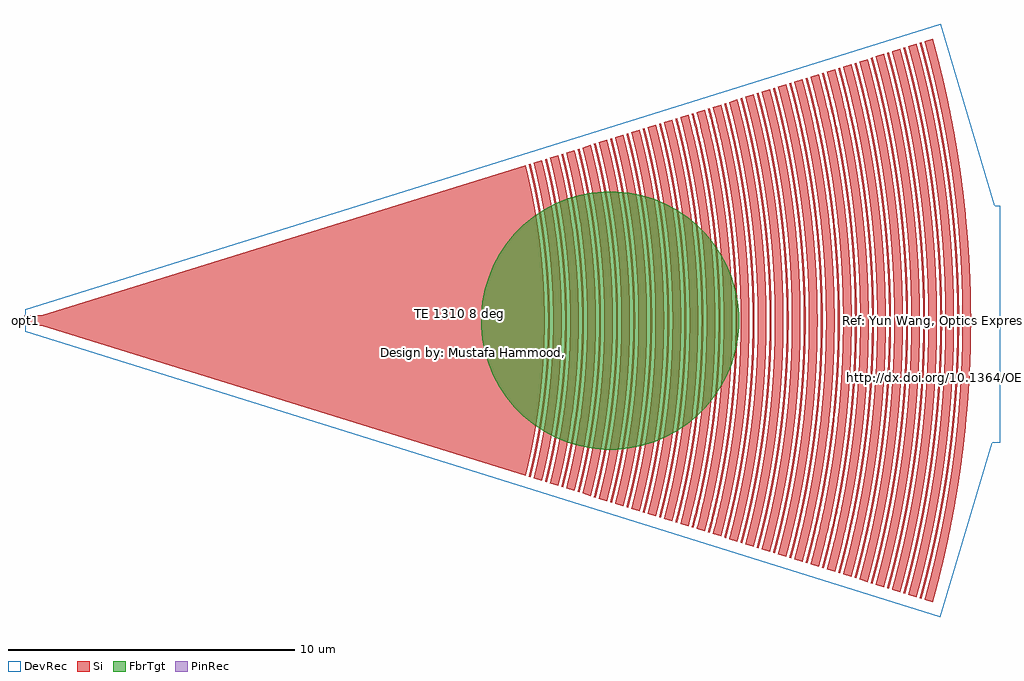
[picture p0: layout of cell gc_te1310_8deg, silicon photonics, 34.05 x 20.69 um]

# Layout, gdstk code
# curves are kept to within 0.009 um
import gdstk
lib = gdstk.Library(unit=1e-6, precision=1e-09)
def R(c, l, rs):  # rectangles x0, y0, x1, y1
    for r in rs: c.add(gdstk.rectangle(r[:2], r[2:], *l))
def P(c, l, *ps):  # polygons
    for p in ps: c.add(gdstk.Polygon(p, *l))
Si = (1, 0)
PinRec = (1, 10)
DevRec = (68, 0)
FbrTgt = (81, 0)

gc_te1310_8deg = lib.new_cell('gc_te1310_8deg')
P(gc_te1310_8deg, Si, [(85.448,-5.418),(68.562,-0.175),(68,-0.175),(68,0.175),(68.562,0.175),(85.448,5.418),(85.708,4.245),(85.832,3.544),(85.935,2.829),(86.01,2.162),(86.063,1.521),(86.099,0.84),(86.114,0.187),(86.108,-0.549),(86.08,-1.246),(86.033,-1.91),(85.954,-2.676),(85.845,-3.462),(85.711,-4.229)],
  [(85.619,-5.471),(85.561,-5.453),(85.562,-5.446),(85.729,-4.731),(85.868,-4.032),(86.006,-3.183),(86.085,-2.572),(86.147,-1.961),(86.189,-1.402),(86.218,-0.816),(86.232,-0.189),(86.228,0.465),(86.204,1.133),(86.159,1.819),(86.103,2.411),(86.01,3.156),(85.88,3.965),(85.729,4.731),(85.562,5.446),(85.561,5.453),(85.619,5.471),(85.785,4.76),(85.91,4.139),(86.027,3.455),(86.121,2.783),(86.194,2.116),(86.244,1.495),(86.277,0.866),(86.293,0.176),(86.287,-0.548),(86.26,-1.231),(86.211,-1.927),(86.139,-2.635),(86.029,-3.442),(85.92,-4.085),(85.785,-4.76)],
  [(86.016,-5.594),(85.732,-5.506),(85.877,-4.891),(86.02,-4.192),(86.128,-3.572),(86.23,-2.862),(86.31,-2.143),(86.363,-1.484),(86.395,-0.865),(86.411,-0.177),(86.405,0.552),(86.377,1.253),(86.32,2.034),(86.246,2.733),(86.145,3.464),(86.02,4.192),(85.877,4.891),(85.732,5.506),(86.016,5.594),(86.175,4.922),(86.318,4.219),(86.441,3.499),(86.528,2.88),(86.6,2.24),(86.654,1.598),(86.694,0.851),(86.709,0.194),(86.704,-0.512),(86.674,-1.28),(86.62,-2.026),(86.545,-2.743),(86.441,-3.499),(86.327,-4.171),(86.184,-4.881)],
  [(86.187,-5.647),(86.129,-5.629),(86.292,-4.939),(86.452,-4.143),(86.559,-3.508),(86.673,-2.665),(86.736,-2.053),(86.784,-1.42),(86.816,-0.738),(86.827,-0.193),(86.823,0.469),(86.799,1.151),(86.758,1.792),(86.69,2.514),(86.578,3.378),(86.452,4.143),(86.292,4.939),(86.129,5.629),(86.187,5.647),(86.328,5.057),(86.486,4.293),(86.595,3.67),(86.696,2.976),(86.777,2.267),(86.838,1.528),(86.873,0.851),(86.888,0.18),(86.881,-0.595),(86.852,-1.3),(86.802,-1.998),(86.726,-2.735),(86.624,-3.485),(86.5,-4.218),(86.367,-4.88)],
  [(86.584,-5.771),(86.3,-5.682),(86.448,-5.061),(86.597,-4.34),(86.713,-3.679),(86.817,-2.96),(86.897,-2.253),(86.949,-1.635),(86.989,-0.905),(87.006,-0.181),(87,0.557),(86.969,1.322),(86.917,2.038),(86.846,2.725),(86.738,3.52),(86.624,4.196),(86.487,4.883),(86.3,5.682),(86.584,5.771),(86.751,5.07),(86.894,4.373),(87.019,3.652),(87.116,2.971),(87.186,2.359),(87.246,1.661),(87.287,0.912),(87.304,0.191),(87.298,-0.566),(87.267,-1.329),(87.214,-2.063),(87.13,-2.859),(87.019,-3.652),(86.894,-4.373),(86.751,-5.07)],
  [(86.755,-5.824),(86.697,-5.806),(86.874,-5.06),(87.031,-4.282),(87.151,-3.571),(87.265,-2.724),(87.331,-2.079),(87.378,-1.453),(87.41,-0.778),(87.422,-0.194),(87.417,0.525),(87.394,1.165),(87.347,1.889),(87.28,2.591),(87.173,3.424),(87.055,4.15),(86.895,4.963),(86.697,5.806),(86.755,5.824),(86.919,5.138),(87.052,4.498),(87.181,3.771),(87.289,3.028),(87.367,2.346),(87.431,1.578),(87.466,0.914),(87.483,0.18),(87.477,-0.561),(87.447,-1.317),(87.394,-2.057),(87.311,-2.852),(87.2,-3.652),(87.08,-4.351),(86.919,-5.138)],
  [(87.153,-5.947),(86.868,-5.859),(87.036,-5.155),(87.188,-4.415),(87.317,-3.667),(87.411,-3.004),(87.487,-2.332),(87.55,-1.566),(87.586,-0.863),(87.601,-0.181),(87.595,0.565),(87.561,1.389),(87.507,2.119),(87.426,2.884),(87.317,3.667),(87.199,4.356),(87.036,5.155),(86.868,5.859),(87.153,5.947),(87.303,5.325),(87.464,4.558),(87.594,3.823),(87.701,3.085),(87.79,2.295),(87.85,1.547),(87.883,0.898),(87.899,0.198),(87.892,-0.61),(87.858,-1.417),(87.804,-2.144),(87.727,-2.877),(87.621,-3.651),(87.495,-4.394),(87.33,-5.204)],
  [(87.324,-6),(87.265,-5.982),(87.447,-5.221),(87.606,-4.442),(87.738,-3.666),(87.848,-2.859),(87.918,-2.194),(87.97,-1.519),(88.002,-0.873),(88.017,-0.198),(88.012,0.528),(87.986,1.239),(87.939,1.95),(87.867,2.695),(87.752,3.574),(87.627,4.328),(87.447,5.221),(87.265,5.982),(87.324,6),(87.509,5.223),(87.656,4.505),(87.78,3.792),(87.876,3.126),(87.96,2.394),(88.026,1.596),(88.062,0.897),(88.078,0.184),(88.071,-0.609),(88.038,-1.402),(87.983,-2.15),(87.903,-2.911),(87.789,-3.735),(87.672,-4.42),(87.509,-5.223)],
  [(87.721,-6.124),(87.436,-6.035),(87.591,-5.396),(87.756,-4.61),(87.889,-3.857),(88.001,-3.08),(88.087,-2.307),(88.145,-1.584),(88.181,-0.874),(88.196,-0.185),(88.189,0.613),(88.157,1.388),(88.101,2.155),(88.018,2.943),(87.915,3.692),(87.775,4.51),(87.615,5.289),(87.436,6.035),(87.721,6.124),(87.885,5.446),(88.042,4.7),(88.178,3.936),(88.288,3.184),(88.368,2.495),(88.431,1.769),(88.474,1.012),(88.494,0.195),(88.486,-0.659),(88.454,-1.416),(88.4,-2.158),(88.313,-2.986),(88.199,-3.804),(88.063,-4.591),(87.898,-5.388)],
  [(87.892,-6.177),(87.834,-6.159),(87.835,-6.151),(88.036,-5.311),(88.193,-4.538),(88.324,-3.769),(88.434,-2.968),(88.506,-2.296),(88.559,-1.63),(88.594,-0.964),(88.612,-0.202),(88.608,0.487),(88.58,1.272),(88.535,1.96),(88.462,2.727),(88.347,3.616),(88.209,4.451),(88.036,5.311),(87.835,6.151),(87.834,6.159),(87.892,6.177),(88.061,5.478),(88.222,4.711),(88.355,3.962),(88.463,3.225),(88.553,2.442),(88.61,1.775),(88.653,1.011),(88.673,0.18),(88.666,-0.614),(88.632,-1.437),(88.581,-2.141),(88.488,-3.028),(88.369,-3.874),(88.229,-4.675),(88.061,-5.478)],
  [(88.289,-6.3),(88.004,-6.212),(88.183,-5.473),(88.344,-4.701),(88.472,-3.977),(88.591,-3.155),(88.681,-2.345),(88.742,-1.571),(88.776,-0.884),(88.791,-0.189),(88.784,0.617),(88.751,1.423),(88.699,2.146),(88.612,2.986),(88.501,3.794),(88.362,4.606),(88.196,5.415),(88.004,6.212),(88.289,6.3),(88.484,5.492),(88.62,4.842),(88.761,4.056),(88.876,3.275),(88.97,2.454),(89.032,1.705),(89.073,0.919),(89.089,0.199),(89.082,-0.626),(89.053,-1.361),(89,-2.125),(88.907,-3.029),(88.786,-3.9),(88.657,-4.65),(88.484,-5.492)],
  [(88.46,-6.353),(88.402,-6.335),(88.593,-5.545),(88.758,-4.75),(88.91,-3.871),(89.02,-3.077),(89.1,-2.333),(89.158,-1.587),(89.191,-0.923),(89.207,-0.205),(89.202,0.542),(89.175,1.289),(89.121,2.094),(89.048,2.839),(88.928,3.752),(88.783,4.617),(88.611,5.464),(88.402,6.335),(88.46,6.353),(88.66,5.524),(88.813,4.786),(88.95,4.008),(89.071,3.16),(89.157,2.377),(89.221,1.554),(89.252,0.918),(89.268,0.184),(89.262,-0.581),(89.231,-1.382),(89.17,-2.235),(89.083,-3.063),(88.964,-3.919),(88.813,-4.786),(88.66,-5.524)],
  [(88.857,-6.476),(88.573,-6.388),(88.764,-5.599),(88.938,-4.76),(89.067,-4.023),(89.183,-3.215),(89.27,-2.435),(89.328,-1.728),(89.368,-0.976),(89.386,-0.192),(89.38,0.584),(89.344,1.473),(89.284,2.285),(89.197,3.103),(89.087,3.896),(88.938,4.76),(88.764,5.599),(88.573,6.388),(88.857,6.476),(89.04,5.729),(89.201,4.97),(89.34,4.2),(89.445,3.503),(89.544,2.689),(89.617,1.867),(89.664,1.035),(89.684,0.202),(89.678,-0.592),(89.641,-1.501),(89.579,-2.332),(89.492,-3.146),(89.379,-3.957),(89.233,-4.804),(89.067,-5.609)],
  [(89.028,-6.529),(88.97,-6.511),(89.176,-5.662),(89.341,-4.867),(89.501,-3.941),(89.619,-3.079),(89.693,-2.381),(89.75,-1.652),(89.788,-0.876),(89.802,-0.206),(89.796,0.594),(89.764,1.416),(89.713,2.153),(89.634,2.95),(89.526,3.775),(89.372,4.702),(89.186,5.617),(88.97,6.511),(89.028,6.529),(89.223,5.73),(89.377,5.001),(89.531,4.141),(89.638,3.414),(89.736,2.57),(89.8,1.816),(89.844,1.008),(89.863,0.191),(89.855,-0.672),(89.82,-1.504),(89.757,-2.35),(89.67,-3.163),(89.555,-3.989),(89.409,-4.835),(89.223,-5.73)],
  [(89.426,-6.653),(89.141,-6.564),(89.304,-5.904),(89.466,-5.157),(89.605,-4.414),(89.737,-3.562),(89.843,-2.684),(89.917,-1.834),(89.962,-1.013),(89.981,-0.192),(89.975,0.591),(89.936,1.542),(89.875,2.355),(89.784,3.203),(89.653,4.125),(89.511,4.93),(89.33,5.791),(89.141,6.564),(89.426,6.653),(89.623,5.846),(89.794,5.036),(89.938,4.231),(90.047,3.494),(90.15,2.615),(90.213,1.874),(90.26,1.019),(90.279,0.202),(90.273,-0.599),(90.236,-1.519),(90.17,-2.402),(90.077,-3.262),(89.952,-4.142),(89.809,-4.958),(89.623,-5.846)],
  [(89.596,-6.706),(89.538,-6.688),(89.73,-5.907),(89.921,-5),(90.08,-4.088),(90.205,-3.187),(90.29,-2.385),(90.351,-1.573),(90.382,-0.914),(90.397,-0.209),(90.39,0.643),(90.361,1.395),(90.31,2.153),(90.225,3.018),(90.107,3.911),(89.95,4.847),(89.749,5.823),(89.538,6.688),(89.596,6.706),(89.787,5.931),(89.973,5.052),(90.136,4.126),(90.229,3.482),(90.323,2.678),(90.393,1.864),(90.44,0.995),(90.458,0.187),(90.449,-0.715),(90.407,-1.655),(90.342,-2.484),(90.246,-3.351),(90.124,-4.199),(89.973,-5.052),(89.787,-5.931)],
  [(89.994,-6.829),(89.709,-6.741),(89.906,-5.939),(90.076,-5.14),(90.221,-4.337),(90.334,-3.586),(90.433,-2.762),(90.509,-1.897),(90.557,-1.023),(90.576,-0.195),(90.569,0.641),(90.534,1.507),(90.47,2.38),(90.384,3.197),(90.257,4.113),(90.116,4.932),(89.927,5.847),(89.709,6.741),(89.994,6.829),(90.208,5.954),(90.377,5.153),(90.511,4.41),(90.638,3.562),(90.741,2.684),(90.811,1.851),(90.856,1.005),(90.874,0.206),(90.866,-0.689),(90.83,-1.551),(90.765,-2.428),(90.669,-3.322),(90.549,-4.175),(90.377,-5.153),(90.208,-5.954)],
  [(90.165,-6.882),(90.107,-6.864),(90.336,-5.923),(90.525,-5.007),(90.67,-4.164),(90.795,-3.264),(90.876,-2.51),(90.93,-1.841),(90.972,-1.061),(90.992,-0.209),(90.985,0.651),(90.954,1.447),(90.886,2.4),(90.809,3.146),(90.688,4.047),(90.525,5.007),(90.336,5.923),(90.107,6.864),(90.165,6.882),(90.345,6.156),(90.53,5.301),(90.687,4.442),(90.813,3.603),(90.919,2.698),(90.988,1.885),(91.034,1.032),(91.053,0.194),(91.046,-0.645),(91.01,-1.538),(90.948,-2.39),(90.856,-3.265),(90.736,-4.136),(90.583,-5.028),(90.407,-5.884)],
  [(90.562,-7.006),(90.277,-6.917),(90.477,-6.109),(90.665,-5.226),(90.808,-4.433),(90.938,-3.558),(91.037,-2.704),(91.105,-1.903),(91.151,-1.061),(91.171,-0.195),(91.163,0.688),(91.125,1.593),(91.056,2.506),(90.966,3.337),(90.826,4.323),(90.671,5.195),(90.477,6.109),(90.277,6.917),(90.562,7.006),(90.77,6.164),(90.946,5.341),(91.102,4.482),(91.224,3.667),(91.324,2.827),(91.401,1.943),(91.45,1.043),(91.469,0.205),(91.459,-0.769),(91.42,-1.654),(91.344,-2.626),(91.242,-3.531),(91.115,-4.402),(90.957,-5.285),(90.77,-6.164)],
  [(90.733,-7.059),(90.675,-7.041),(90.902,-6.116),(91.11,-5.114),(91.271,-4.17),(91.4,-3.214),(91.484,-2.392),(91.54,-1.623),(91.572,-0.934),(91.587,-0.213),(91.581,0.613),(91.549,1.463),(91.484,2.392),(91.4,3.214),(91.271,4.17),(91.11,5.114),(90.902,6.116),(90.675,7.041),(90.733,7.059),(90.95,6.179),(91.122,5.373),(91.283,4.483),(91.402,3.686),(91.501,2.854),(91.577,1.989),(91.63,1.017),(91.648,0.197),(91.639,-0.728),(91.604,-1.571),(91.536,-2.494),(91.423,-3.526),(91.292,-4.428),(91.125,-5.359),(90.95,-6.179)],
  [(91.13,-7.182),(90.846,-7.094),(91.073,-6.17),(91.251,-5.33),(91.408,-4.45),(91.525,-3.656),(91.619,-2.861),(91.697,-1.966),(91.747,-1.046),(91.766,-0.198),(91.756,0.772),(91.708,1.805),(91.632,2.732),(91.525,3.656),(91.408,4.45),(91.237,5.399),(91.053,6.257),(90.846,7.094),(91.13,7.182),(91.35,6.295),(91.532,5.443),(91.682,4.619),(91.813,3.751),(91.914,2.905),(91.994,1.991),(92.046,1.027),(92.064,0.209),(92.053,-0.814),(92.005,-1.828),(91.936,-2.685),(91.826,-3.653),(91.71,-4.449),(91.532,-5.443),(91.35,-6.295)],
  [(91.301,-7.235),(91.243,-7.217),(91.453,-6.373),(91.66,-5.404),(91.817,-4.526),(91.944,-3.661),(92.044,-2.793),(92.116,-1.939),(92.161,-1.109),(92.182,-0.212),(92.176,0.62),(92.142,1.516),(92.085,2.346),(91.996,3.239),(91.864,4.227),(91.697,5.211),(91.486,6.229),(91.243,7.217),(91.301,7.235),(91.521,6.349),(91.705,5.49),(91.854,4.675),(91.989,3.784),(92.092,2.922),(92.172,2.009),(92.224,1.054),(92.243,0.196),(92.233,-0.776),(92.193,-1.691),(92.121,-2.629),(92.024,-3.516),(91.886,-4.481),(91.724,-5.393),(91.521,-6.349)],
  [(91.699,-7.359),(91.414,-7.27),(91.62,-6.444),(91.812,-5.557),(91.974,-4.673),(92.11,-3.769),(92.216,-2.871),(92.292,-1.986),(92.34,-1.109),(92.361,-0.197),(92.35,0.813),(92.302,1.839),(92.225,2.781),(92.123,3.671),(91.998,4.527),(91.828,5.476),(91.633,6.388),(91.414,7.27),(91.699,7.359),(91.919,6.474),(92.099,5.641),(92.268,4.722),(92.399,3.857),(92.506,2.964),(92.585,2.069),(92.64,1.064),(92.659,0.216),(92.65,-0.748),(92.604,-1.787),(92.53,-2.724),(92.422,-3.683),(92.287,-4.607),(92.125,-5.51),(91.919,-6.474)],
  [(91.869,-7.412),(91.811,-7.394),(92.033,-6.504),(92.237,-5.552),(92.407,-4.603),(92.54,-3.691),(92.637,-2.842),(92.711,-1.958),(92.759,-1.039),(92.777,-0.22),(92.771,0.625),(92.738,1.511),(92.675,2.429),(92.594,3.246),(92.467,4.217),(92.281,5.323),(92.061,6.382),(91.811,7.394),(91.869,7.412),(92.088,6.536),(92.293,5.582),(92.448,4.729),(92.585,3.815),(92.69,2.923),(92.766,2.046),(92.818,1.092),(92.838,0.195),(92.828,-0.785),(92.781,-1.822),(92.704,-2.783),(92.597,-3.725),(92.448,-4.729),(92.293,-5.582),(92.088,-6.536)],
  [(92.267,-7.535),(91.982,-7.447),(92.2,-6.575),(92.4,-5.649),(92.557,-4.793),(92.696,-3.875),(92.808,-2.929),(92.883,-2.064),(92.938,-1.039),(92.956,-0.204),(92.945,0.822),(92.895,1.889),(92.822,2.788),(92.718,3.709),(92.568,4.727),(92.39,5.7),(92.2,6.575),(91.982,7.447),(92.267,7.535),(92.478,6.695),(92.667,5.833),(92.834,4.942),(92.986,3.955),(93.098,3.023),(93.177,2.13),(93.23,1.203),(93.254,0.215),(93.242,-0.865),(93.198,-1.819),(93.124,-2.762),(93.016,-3.728),(92.884,-4.641),(92.715,-5.592),(92.505,-6.579)],
  [(92.438,-7.588),(92.38,-7.57),(92.619,-6.609),(92.822,-5.659),(92.992,-4.712),(93.134,-3.736),(93.235,-2.84),(93.309,-1.934),(93.353,-1.077),(93.372,-0.219),(93.363,0.757),(93.326,1.657),(93.262,2.547),(93.16,3.527),(93.016,4.562),(92.843,5.551),(92.636,6.535),(92.38,7.57),(92.438,7.588),(92.672,6.65),(92.855,5.805),(93.02,4.915),(93.162,3.987),(93.269,3.107),(93.355,2.149),(93.411,1.155),(93.433,0.202),(93.423,-0.793),(93.373,-1.888),(93.293,-2.872),(93.191,-3.77),(93.045,-4.765),(92.883,-5.664),(92.67,-6.659)],
  [(92.835,-7.711),(92.55,-7.623),(92.776,-6.724),(93.003,-5.665),(93.161,-4.787),(93.29,-3.922),(93.395,-3.037),(93.478,-2.083),(93.532,-1.076),(93.551,-0.203),(93.54,0.83),(93.496,1.812),(93.424,2.742),(93.312,3.753),(93.176,4.695),(93.003,5.665),(92.784,6.689),(92.55,7.623),(92.835,7.711),(93.068,6.783),(93.267,5.866),(93.444,4.902),(93.573,4.053),(93.691,3.073),(93.774,2.124),(93.826,1.191),(93.849,0.214),(93.84,-0.763),(93.797,-1.773),(93.722,-2.757),(93.608,-3.789),(93.47,-4.745),(93.302,-5.689),(93.099,-6.649)],
  [(93.006,-7.765),(92.948,-7.746),(93.184,-6.805),(93.404,-5.782),(93.57,-4.863),(93.726,-3.796),(93.829,-2.879),(93.899,-2.027),(93.948,-1.089),(93.967,-0.218),(93.959,0.722),(93.924,1.618),(93.848,2.674),(93.742,3.669),(93.604,4.652),(93.404,5.782),(93.184,6.805),(92.948,7.746),(93.006,7.765),(93.231,6.871),(93.433,5.947),(93.62,4.934),(93.764,3.975),(93.876,3.022),(93.952,2.143),(94.003,1.237),(94.028,0.201),(94.018,-0.8),(93.973,-1.827),(93.896,-2.817),(93.784,-3.822),(93.634,-4.849),(93.465,-5.787),(93.268,-6.712)],
  [(93.403,-7.888),(93.119,-7.8),(93.384,-6.734),(93.548,-5.974),(93.733,-4.973),(93.876,-4.027),(93.987,-3.095),(94.069,-2.161),(94.12,-1.268),(94.146,-0.202),(94.135,0.838),(94.087,1.895),(94.01,2.864),(93.903,3.822),(93.761,4.803),(93.585,5.788),(93.384,6.734),(93.119,7.8),(93.403,7.888),(93.598,7.125),(93.84,6.033),(94.017,5.081),(94.167,4.099),(94.284,3.122),(94.366,2.186),(94.417,1.3),(94.444,0.222),(94.432,-0.883),(94.387,-1.873),(94.308,-2.879),(94.199,-3.857),(94.04,-4.944),(93.874,-5.864),(93.678,-6.785)],
  [(93.574,-7.941),(93.516,-7.923),(93.796,-6.798),(93.976,-5.955),(94.155,-4.971),(94.314,-3.888),(94.42,-2.948),(94.495,-2.032),(94.544,-1.07),(94.562,-0.221),(94.554,0.732),(94.518,1.651),(94.444,2.689),(94.344,3.647),(94.187,4.774),(94.011,5.776),(93.796,6.798),(93.516,7.923),(93.574,7.941),(93.831,6.917),(94.013,6.08),(94.202,5.06),(94.355,4.044),(94.464,3.119),(94.548,2.149),(94.6,1.203),(94.623,0.204),(94.614,-0.769),(94.57,-1.811),(94.492,-2.834),(94.373,-3.906),(94.212,-5),(94.037,-5.96),(93.849,-6.839)],
  [(93.972,-8.064),(93.687,-7.976),(93.897,-7.151),(94.133,-6.081),(94.312,-5.117),(94.454,-4.192),(94.574,-3.203),(94.66,-2.237),(94.715,-1.278),(94.741,-0.205),(94.732,0.772),(94.684,1.88),(94.602,2.924),(94.492,3.906),(94.356,4.849),(94.164,5.926),(93.957,6.895),(93.687,7.976),(93.972,8.064),(94.211,7.118),(94.42,6.166),(94.613,5.125),(94.758,4.168),(94.88,3.142),(94.964,2.167),(95.015,1.24),(95.039,0.225),(95.029,-0.816),(94.983,-1.874),(94.904,-2.898),(94.779,-4.01),(94.638,-4.973),(94.453,-6.001),(94.215,-7.101)],
  [(94.142,-8.117),(94.084,-8.099),(94.319,-7.174),(94.575,-5.992),(94.754,-4.994),(94.905,-3.956),(95.009,-3.038),(95.088,-2.082),(95.135,-1.189),(95.157,-0.229),(95.147,0.818),(95.104,1.828),(95.036,2.749),(94.928,3.773),(94.754,4.996),(94.575,5.992),(94.319,7.174),(94.084,8.099),(94.142,8.117),(94.39,7.138),(94.591,6.222),(94.788,5.162),(94.934,4.201),(95.049,3.247),(95.142,2.184),(95.191,1.313),(95.218,0.203),(95.209,-0.775),(95.16,-1.911),(95.077,-2.966),(94.963,-3.983),(94.801,-5.083),(94.612,-6.118),(94.394,-7.121)],
  [(94.54,-8.241),(94.255,-8.152),(94.51,-7.143),(94.713,-6.214),(94.898,-5.219),(95.053,-4.202),(95.168,-3.243),(95.259,-2.202),(95.31,-1.292),(95.336,-0.212),(95.327,0.779),(95.282,1.849),(95.191,3.014),(95.074,4.044),(94.917,5.105),(94.734,6.109),(94.51,7.143),(94.255,8.152),(94.54,8.241),(94.775,7.317),(94.998,6.308),(95.18,5.338),(95.339,4.31),(95.464,3.278),(95.551,2.297),(95.611,1.225),(95.634,0.224),(95.625,-0.787),(95.575,-1.94),(95.495,-2.967),(95.37,-4.079),(95.207,-5.178),(95.014,-6.229),(94.804,-7.194)],
  [(94.711,-8.294),(94.652,-8.276),(94.91,-7.259),(95.154,-6.13),(95.338,-5.109),(95.493,-4.048),(95.606,-3.046),(95.681,-2.13),(95.734,-1.088),(95.752,-0.223),(95.741,0.865),(95.699,1.845),(95.621,2.886),(95.512,3.898),(95.348,5.047),(95.154,6.13),(94.91,7.259),(94.652,8.276),(94.711,8.294),(94.946,7.371),(95.187,6.275),(95.392,5.156),(95.531,4.226),(95.646,3.257),(95.735,2.233),(95.789,1.251),(95.813,0.206),(95.803,-0.822),(95.756,-1.912),(95.669,-3.026),(95.552,-4.066),(95.392,-5.156),(95.208,-6.17),(94.979,-7.231)],
  [(95.108,-8.417),(94.823,-8.329),(95.066,-7.376),(95.302,-6.302),(95.475,-5.373),(95.638,-4.315),(95.766,-3.244),(95.852,-2.251),(95.909,-1.202),(95.931,-0.215),(95.921,0.826),(95.871,1.964),(95.788,3.021),(95.663,4.128),(95.508,5.177),(95.325,6.187),(95.095,7.253),(94.823,8.329),(95.108,8.417),(95.383,7.33),(95.587,6.396),(95.78,5.358),(95.935,4.343),(96.063,3.27),(96.151,2.248),(96.204,1.288),(96.229,0.227),(96.217,-0.907),(96.165,-2.04),(96.087,-3.026),(95.959,-4.163),(95.798,-5.25),(95.587,-6.396),(95.383,-7.33)],
  [(95.279,-8.47),(95.221,-8.452),(95.495,-7.369),(95.706,-6.403),(95.923,-5.217),(96.076,-4.178),(96.195,-3.136),(96.274,-2.181),(96.321,-1.314),(96.347,-0.23),(96.337,0.836),(96.289,1.946),(96.217,2.902),(96.11,3.909),(95.956,5.012),(95.75,6.181),(95.495,7.369),(95.221,8.452),(95.279,8.47),(95.537,7.456),(95.767,6.408),(95.953,5.408),(96.106,4.412),(96.241,3.287),(96.329,2.267),(96.384,1.263),(96.408,0.213),(96.397,-0.865),(96.347,-1.996),(96.259,-3.107),(96.135,-4.196),(95.974,-5.282),(95.767,-6.408),(95.537,-7.456)],
  [(95.676,-8.594),(95.392,-8.505),(95.653,-7.478),(95.873,-6.479),(96.081,-5.358),(96.23,-4.376),(96.361,-3.273),(96.446,-2.285),(96.504,-1.214),(96.526,-0.214),(96.513,0.941),(96.463,2.031),(96.371,3.174),(96.247,4.25),(96.087,5.322),(95.9,6.345),(95.674,7.389),(95.392,8.505),(95.676,8.594),(95.928,7.609),(96.154,6.592),(96.36,5.496),(96.517,4.477),(96.641,3.463),(96.745,2.282),(96.8,1.272),(96.824,0.225),(96.814,-0.841),(96.766,-1.961),(96.677,-3.106),(96.556,-4.185),(96.414,-5.169),(96.205,-6.339),(95.964,-7.457)],
  [(95.847,-8.647),(95.789,-8.629),(96.055,-7.585),(96.288,-6.525),(96.493,-5.415),(96.665,-4.262),(96.775,-3.315),(96.862,-2.302),(96.919,-1.25),(96.942,-0.234),(96.933,0.801),(96.892,1.826),(96.81,2.95),(96.694,4.035),(96.539,5.134),(96.324,6.345),(96.072,7.513),(95.789,8.629),(95.847,8.647),(96.101,7.655),(96.34,6.575),(96.527,5.58),(96.697,4.481),(96.828,3.395),(96.922,2.316),(96.978,1.298),(97.003,0.216),(96.991,-0.913),(96.942,-2.013),(96.85,-3.176),(96.724,-4.28),(96.559,-5.39),(96.351,-6.521),(96.101,-7.655)],
  [(96.244,-8.77),(95.96,-8.682),(96.232,-7.614),(96.455,-6.602),(96.649,-5.566),(96.806,-4.554),(96.947,-3.391),(97.031,-2.445),(97.097,-1.276),(97.121,-0.217),(97.112,0.797),(97.062,1.985),(96.97,3.161),(96.849,4.234),(96.699,5.266),(96.486,6.448),(96.232,7.614),(95.96,8.682),(96.244,8.77),(96.509,7.737),(96.736,6.715),(96.929,5.697),(97.098,4.619),(97.245,3.407),(97.328,2.47),(97.393,1.336),(97.419,0.228),(97.405,-0.991),(97.353,-2.107),(97.269,-3.166),(97.138,-4.323),(96.968,-5.467),(96.762,-6.587),(96.509,-7.737)],
  [(96.415,-8.823),(96.357,-8.805),(96.634,-7.721),(96.883,-6.584),(97.066,-5.598),(97.248,-4.392),(97.376,-3.285),(97.457,-2.323),(97.513,-1.287),(97.537,-0.237),(97.527,0.849),(97.478,1.998),(97.398,3.053),(97.28,4.143),(97.119,5.275),(96.894,6.529),(96.634,7.721),(96.357,8.805),(96.415,8.823),(96.695,7.728),(96.922,6.698),(97.118,5.653),(97.287,4.558),(97.43,3.356),(97.517,2.337),(97.575,1.259),(97.598,0.209),(97.584,-0.99),(97.533,-2.095),(97.441,-3.245),(97.313,-4.364),(97.155,-5.433),(96.935,-6.634),(96.695,-7.728)],
  [(96.813,-8.947),(96.528,-8.858),(96.785,-7.859),(97.037,-6.724),(97.248,-5.593),(97.401,-4.594),(97.53,-3.537),(97.626,-2.467),(97.69,-1.339),(97.716,-0.219),(97.702,0.994),(97.649,2.132),(97.561,3.23),(97.431,4.372),(97.268,5.473),(97.063,6.596),(96.785,7.859),(96.528,8.858),(96.813,8.947),(97.099,7.827),(97.333,6.764),(97.536,5.676),(97.702,4.594),(97.825,3.582),(97.923,2.492),(97.987,1.371),(98.014,0.231),(98.001,-0.966),(97.951,-2.078),(97.861,-3.225),(97.733,-4.363),(97.564,-5.509),(97.348,-6.69),(97.099,-7.827)],
  [(96.984,-9),(96.925,-8.982),(97.211,-7.865),(97.458,-6.742),(97.679,-5.537),(97.848,-4.392),(97.966,-3.364),(98.052,-2.343),(98.109,-1.273),(98.132,-0.23),(98.121,0.897),(98.078,1.93),(97.997,3.036),(97.881,4.13),(97.731,5.212),(97.562,6.205),(97.422,6.917),(97.252,7.691),(97.101,8.315),(96.925,8.982),(96.984,9),(97.261,7.918),(97.506,6.811),(97.706,5.744),(97.877,4.634),(98.018,3.455),(98.104,2.47),(98.168,1.323),(98.193,0.212),(98.18,-0.965),(98.131,-2.066),(98.041,-3.221),(97.907,-4.41),(97.745,-5.511),(97.521,-6.737),(97.285,-7.817)],
  [(97.381,-9.123),(97.096,-9.035),(97.377,-7.94),(97.619,-6.847),(97.833,-5.701),(97.991,-4.671),(98.139,-3.431),(98.223,-2.46),(98.287,-1.299),(98.311,-0.222),(98.299,0.931),(98.247,2.102),(98.153,3.29),(98.025,4.418),(97.847,5.617),(97.638,6.754),(97.377,7.94),(97.096,9.035),(97.381,9.123),(97.656,8.055),(97.898,6.97),(98.121,5.785),(98.292,4.671),(98.439,3.427),(98.518,2.513),(98.581,1.408),(98.609,0.234),(98.597,-0.94),(98.542,-2.161),(98.453,-3.284),(98.326,-4.414),(98.151,-5.606),(97.938,-6.773),(97.676,-7.971)],
  [(97.552,-9.176),(97.494,-9.158),(97.788,-8.01),(98.046,-6.835),(98.255,-5.7),(98.442,-4.437),(98.569,-3.311),(98.649,-2.334),(98.702,-1.336),(98.727,-0.233),(98.718,0.823),(98.667,2.049),(98.584,3.15),(98.466,4.248),(98.336,5.192),(98.163,6.226),(98.025,6.938),(97.851,7.74),(97.667,8.502),(97.494,9.158),(97.552,9.176),(97.829,8.1),(98.067,7.036),(98.286,5.881),(98.467,4.711),(98.558,3.991),(98.623,3.384),(98.699,2.491),(98.762,1.358),(98.788,0.214),(98.774,-1.005),(98.719,-2.196),(98.623,-3.384),(98.486,-4.569),(98.31,-5.739),(98.092,-6.914),(97.829,-8.1)],
  [(97.949,-9.299),(97.664,-9.211),(97.963,-8.047),(98.209,-6.931),(98.41,-5.856),(98.581,-4.748),(98.715,-3.645),(98.816,-2.51),(98.878,-1.411),(98.906,-0.225),(98.892,1.009),(98.836,2.214),(98.745,3.349),(98.599,4.615),(98.418,5.809),(98.209,6.931),(97.963,8.047),(97.664,9.211),(97.949,9.299),(98.226,8.228),(98.482,7.083),(98.706,5.893),(98.886,4.717),(99.008,3.709),(99.111,2.563),(99.177,1.396),(99.204,0.237),(99.19,-1.019),(99.143,-2.081),(99.045,-3.343),(98.91,-4.539),(98.738,-5.702),(98.511,-6.941),(98.254,-8.112)],
  [(98.12,-9.353),(98.062,-9.334),(98.338,-8.267),(98.615,-7.022),(98.837,-5.826),(99.015,-4.643),(99.142,-3.562),(99.234,-2.501),(99.299,-1.295),(99.322,-0.236),(99.312,0.871),(99.265,2.016),(99.171,3.265),(99.052,4.357),(98.918,5.321),(98.733,6.415),(98.615,7.022),(98.444,7.815),(98.264,8.567),(98.062,9.334),(98.12,9.353),(98.408,8.236),(98.651,7.149),(98.861,6.047),(99.061,4.758),(99.209,3.502),(99.292,2.54),(99.358,1.345),(99.383,0.217),(99.369,-1.018),(99.311,-2.261),(99.214,-3.453),(99.079,-4.624),(98.892,-5.866),(98.68,-7.007),(98.408,-8.236)],
  [(98.517,-9.476),(98.233,-9.388),(98.506,-8.333),(98.762,-7.195),(98.985,-6.022),(99.171,-4.824),(99.29,-3.862),(99.411,-2.53),(99.474,-1.399),(99.501,-0.218),(99.488,0.983),(99.43,2.25),(99.337,3.409),(99.197,4.631),(99.008,5.888),(98.797,7.024),(98.531,8.229),(98.233,9.388),(98.517,9.476),(98.812,8.335),(99.078,7.138),(99.291,6.001),(99.463,4.889),(99.608,3.688),(99.71,2.53),(99.771,1.432),(99.799,0.239),(99.786,-0.992),(99.731,-2.213),(99.638,-3.392),(99.502,-4.598),(99.309,-5.895),(99.078,-7.138),(98.812,-8.335)],
  [(98.688,-9.529),(98.63,-9.511),(98.931,-8.345),(99.217,-7.046),(99.437,-5.845),(99.612,-4.667),(99.739,-3.572),(99.834,-2.445),(99.891,-1.386),(99.917,-0.244),(99.904,0.996),(99.857,2.085),(99.767,3.28),(99.643,4.425),(99.506,5.411),(99.326,6.48),(99.18,7.228),(99.007,8.021),(98.828,8.763),(98.63,9.511),(98.688,9.529),(98.976,8.418),(99.255,7.165),(99.466,6.039),(99.63,4.986),(99.769,3.87),(99.832,3.238),(99.888,2.547),(99.951,1.406),(99.978,0.225),(99.964,-1.025),(99.907,-2.264),(99.811,-3.462),(99.676,-4.646),(99.484,-5.933),(99.255,-7.165),(98.976,-8.418)],
  [(99.086,-9.652),(98.801,-9.564),(99.106,-8.382),(99.362,-7.23),(99.55,-6.245),(99.748,-4.994),(99.884,-3.904),(100.005,-2.566),(100.069,-1.411),(100.096,-0.225),(100.083,0.99),(100.026,2.253),(99.934,3.416),(99.789,4.693),(99.6,5.955),(99.374,7.172),(99.106,8.382),(98.801,9.564),(99.086,9.652),(99.354,8.623),(99.61,7.501),(99.851,6.254),(100.052,4.972),(100.205,3.704),(100.3,2.619),(100.366,1.444),(100.394,0.237),(100.381,-0.999),(100.324,-2.264),(100.214,-3.615),(100.08,-4.766),(99.906,-5.932),(99.676,-7.181),(99.403,-8.421)],
  [(99.256,-9.705),(99.198,-9.687),(99.508,-8.489),(99.782,-7.253),(100.011,-6.019),(100.196,-4.789),(100.337,-3.564),(100.421,-2.581),(100.487,-1.37),(100.512,-0.246),(100.5,0.966),(100.451,2.118),(100.361,3.318),(100.235,4.485),(100.085,5.561),(99.881,6.748),(99.738,7.466),(99.576,8.2),(99.399,8.931),(99.198,9.687),(99.256,9.705),(99.534,8.64),(99.785,7.538),(100.029,6.274),(100.22,5.062),(100.371,3.836),(100.476,2.664),(100.547,1.392),(100.573,0.227),(100.56,-0.997),(100.504,-2.25),(100.403,-3.521),(100.26,-4.768),(100.079,-5.981),(99.857,-7.189),(99.576,-8.466),(99.433,-9.044)],
  [(99.654,-9.829),(99.369,-9.74),(99.648,-8.671),(99.906,-7.536),(100.138,-6.336),(100.338,-5.071),(100.483,-3.899),(100.598,-2.615),(100.663,-1.447),(100.691,-0.228),(100.678,1.001),(100.623,2.239),(100.527,3.465),(100.382,4.746),(100.208,5.925),(99.98,7.176),(99.697,8.468),(99.369,9.74),(99.654,9.829),(99.978,8.574),(100.233,7.428),(100.463,6.206),(100.649,4.998),(100.782,3.905),(100.895,2.639),(100.962,1.43),(100.989,0.24),(100.977,-0.97),(100.921,-2.249),(100.83,-3.426),(100.673,-4.819),(100.473,-6.147),(100.233,-7.428),(99.978,-8.574)])
R(gc_te1310_8deg, PinRec, [(67.95,-0.175,68.05,0.175)])
P(gc_te1310_8deg, DevRec, [(99.924,-10.344),(68,-0.4),(68,0.4),(99.925,10.345),(101.811,4),(102,4),(102,-4.273),(101.73,-4.273)])
P(gc_te1310_8deg, FbrTgt, [(88.179,-4.5),(87.739,-4.457),(87.305,-4.37),(86.882,-4.242),(86.474,-4.073),(86.084,-3.864),(85.716,-3.619),(85.374,-3.338),(85.062,-3.026),(84.781,-2.684),(84.536,-2.316),(84.327,-1.926),(84.158,-1.518),(84.03,-1.095),(83.943,-0.661),(83.9,-0.221),(83.9,0.221),(83.943,0.661),(84.03,1.095),(84.158,1.518),(84.327,1.926),(84.536,2.316),(84.781,2.684),(85.062,3.026),(85.374,3.338),(85.716,3.619),(86.084,3.864),(86.474,4.073),(86.882,4.242),(87.305,4.37),(87.739,4.457),(88.179,4.5),(88.621,4.5),(89.061,4.457),(89.495,4.37),(89.918,4.242),(90.326,4.073),(90.716,3.864),(91.084,3.619),(91.426,3.338),(91.738,3.026),(92.019,2.684),(92.264,2.316),(92.473,1.926),(92.642,1.518),(92.77,1.095),(92.857,0.661),(92.9,0.221),(92.9,-0.221),(92.857,-0.661),(92.77,-1.095),(92.642,-1.518),(92.473,-1.926),(92.264,-2.316),(92.019,-2.684),(91.738,-3.026),(91.426,-3.338),(91.084,-3.619),(90.716,-3.864),(90.326,-4.073),(89.918,-4.242),(89.495,-4.37),(89.061,-4.457),(88.621,-4.5)])
gc_te1310_8deg.add(gdstk.Label('opt1', (68,0), layer=1, texttype=10))
gc_te1310_8deg.add(gdstk.Label('Design by: Mustafa Hammood, 2020', (83.718,-1.132), layer=10, texttype=0))
gc_te1310_8deg.add(gdstk.Label('TE 1310 8 deg', (83.126,0.262), layer=10, texttype=0))
gc_te1310_8deg.add(gdstk.Label('Ref: Yun Wang, Optics Express, 08/2014', (101,0), layer=10, texttype=0))
gc_te1310_8deg.add(gdstk.Label('http://dx.doi.org/10.1364/OE.22.020652', (101,-2), layer=10, texttype=0))

lib.write_gds('gc_te1310_8deg.gds')
